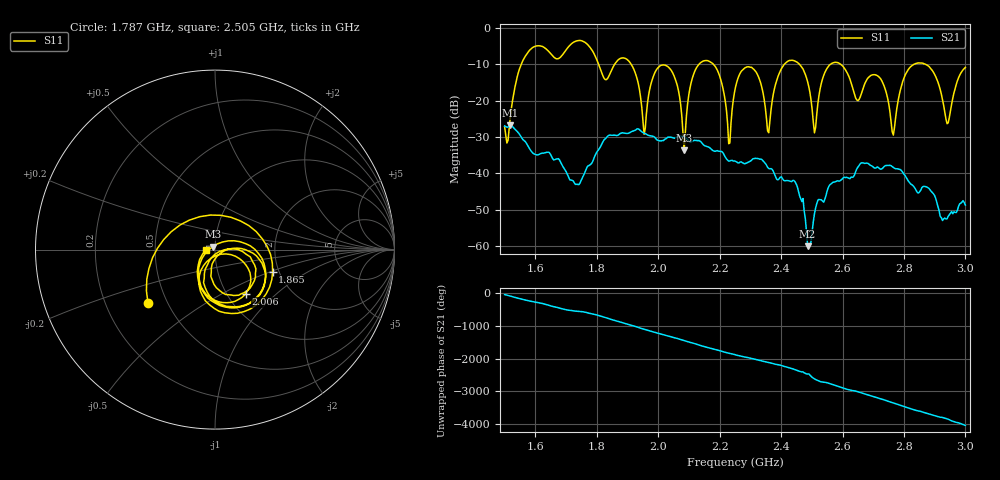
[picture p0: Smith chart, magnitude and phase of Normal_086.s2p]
# HZ S RI R 50
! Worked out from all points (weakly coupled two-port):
!   404 points, 1.5 GHz to 3 GHz, reference 50 ohm
!   highest |S21| = -26.80 dB at 1.519 GHz (marker M1); lowest = -60.0 dB at 2.486 GHz (marker M2)
!   lowest |S11| = -33.6 dB at 2.084 GHz (marker M3), VSWR 1.04, Z = 48.7 + j1.59 ohm
!   |S11| at or under -10 dB: 1.912 GHz to 2.133 GHz (221.5 MHz wide, 11 % of centre); 2.179 GHz to 2.411 GHz (231.9 MHz wide, 10.1 % of centre); 2.593 GHz to 2.834 GHz (240.7 MHz wide, 8.87 % of centre) (the widest 3 of 7)
!   S12 and S22 are empty: the file has one direction only
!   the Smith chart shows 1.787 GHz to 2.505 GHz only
!   S11 on the Smith chart (normalised r, x): 1.787 GHz: 0.39, -0.30; 1.865 GHz: 1.85, -0.52; 2.006 GHz: 1.22, -0.66; 2.505 GHz: 0.90, +0.00
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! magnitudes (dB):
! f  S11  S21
! 1.5 GHz  -27.2  -27.0
! 1.519 GHz  -24.5  -26.8
! 1.582 GHz  -6.1  -33.3
! 1.753 GHz  -3.7  -41.2
! 1.787 GHz  -6.4  -36.7
! 1.865 GHz  -9.3  -29.6
! 1.954 GHz  -29.3  -29.0
! 2.002 GHz  -10.7  -31.0
! 2.006 GHz  -10.5  -31.1
! 2.084 GHz  -33.6  -30.0
! 2.14 GHz  -9.5  -31.4
! 2.23 GHz  -31.8  -36.6
! 2.252 GHz  -16.2  -36.7
! 2.445 GHz  -9.2  -42.3
! 2.486 GHz  -14.8  -60.0
! 2.501 GHz  -22.5  -56.0
! 2.505 GHz  -25.9  -53.2
! 2.576 GHz  -9.5  -42.3
! 2.751 GHz  -20.9  -37.8
! 2.859 GHz  -9.7  -43.9
! 2.944 GHz  -26.1  -51.8
! 3 GHz  -10.9  -48.7
